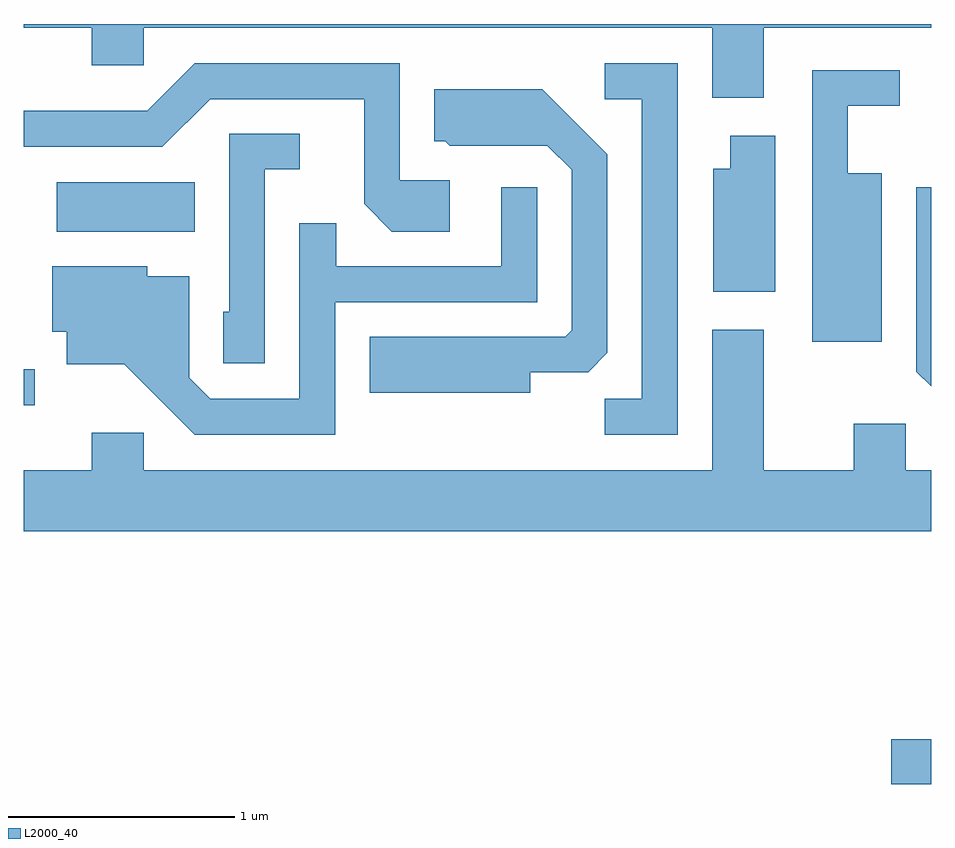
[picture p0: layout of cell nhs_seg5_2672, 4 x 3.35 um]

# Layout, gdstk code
import gdstk
lib = gdstk.Library(unit=1e-6, precision=1e-09)
def R(c, l, rs):  # rectangles x0, y0, x1, y1
    for r in rs: c.add(gdstk.rectangle(r[:2], r[2:], *l))
def P(c, l, *ps):  # polygons
    for p in ps: c.add(gdstk.Polygon(p, *l))
L2000_40 = (2000, 40)

nhs_seg5_2672 = lib.new_cell('nhs_seg5_2672')
R(nhs_seg5_2672, L2000_40, [(267.436,1526.721,267.611,1526.919), (263.611,1528.391,263.658,1528.549), (263.756,1529.156,264.364,1529.374)])
P(nhs_seg5_2672, L2000_40, [(266.874,1530.056),(267.611,1530.056),(267.611,1530.072),(263.611,1530.072),(263.611,1530.056),(263.911,1530.056),(263.911,1529.891),(264.139,1529.891),(264.139,1530.056),(266.646,1530.056),(266.646,1529.746),(266.874,1529.746)],
  [(266.494,1529.899),(266.173,1529.899),(266.173,1529.741),(266.336,1529.741),(266.336,1528.419),(266.173,1528.419),(266.173,1528.261),(266.494,1528.261)],
  [(265.489,1529.384),(265.269,1529.384),(265.269,1529.899),(264.364,1529.899),(264.154,1529.689),(263.611,1529.689),(263.611,1529.531),(264.222,1529.531),(264.432,1529.741),(265.111,1529.741),(265.111,1529.279),(265.234,1529.156),(265.489,1529.156)],
  [(267.394,1529.414),(267.244,1529.414),(267.244,1529.711),(267.473,1529.711),(267.473,1529.869),(267.086,1529.869),(267.086,1528.671),(267.394,1528.671)],
  [(265.844,1528.536),(266.099,1528.536),(266.184,1528.622),(266.184,1529.497),(265.897,1529.784),(265.421,1529.784),(265.421,1529.556),(265.469,1529.556),(265.489,1529.536),(265.919,1529.536),(266.026,1529.429),(266.026,1528.722),(265.999,1528.694),(265.136,1528.694),(265.136,1528.446),(265.844,1528.446)],
  [(264.674,1529.431),(264.828,1529.431),(264.828,1529.589),(264.516,1529.589),(264.516,1528.804),(264.491,1528.804),(264.491,1528.576),(264.674,1528.576)],
  [(266.924,1529.579),(266.726,1529.579),(266.726,1529.434),(266.651,1529.434),(266.651,1528.891),(266.924,1528.891)],
  [(267.611,1529.353),(267.546,1529.353),(267.546,1528.539),(267.611,1528.474)],
  [(264.984,1528.846),(265.874,1528.846),(265.874,1529.353),(265.716,1529.353),(265.716,1529.004),(264.989,1529.004),(264.989,1529.193),(264.826,1529.193),(264.826,1528.419),(264.432,1528.419),(264.339,1528.512),(264.339,1528.959),(264.154,1528.959),(264.154,1529.004),(263.736,1529.004),(263.736,1528.716),(263.801,1528.716),(263.801,1528.571),(264.054,1528.571),(264.364,1528.261),(264.984,1528.261)],
  [(267.611,1528.104),(267.499,1528.104),(267.499,1528.309),(267.271,1528.309),(267.271,1528.104),(266.874,1528.104),(266.874,1528.724),(266.646,1528.724),(266.646,1528.104),(264.139,1528.104),(264.139,1528.269),(263.911,1528.269),(263.911,1528.104),(263.611,1528.104),(263.611,1527.836),(267.611,1527.836)])

lib.write_gds('nhs_seg5_2672.gds')
